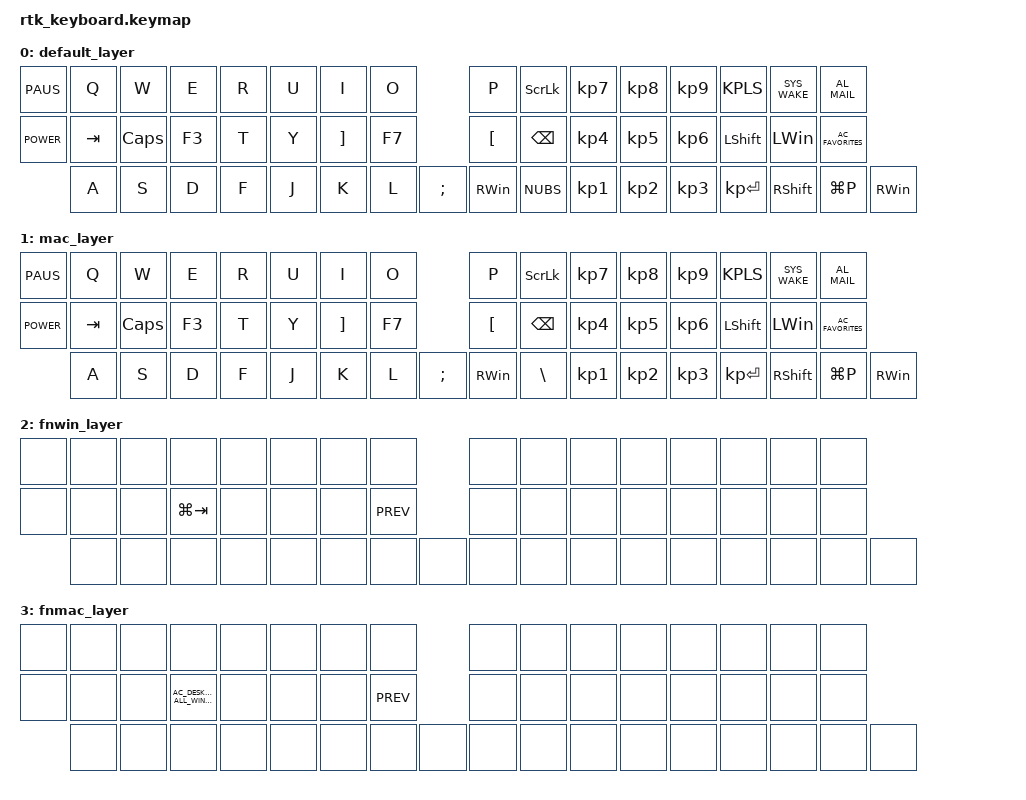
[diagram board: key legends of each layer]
/*
 * Copyright (c) 2023 The ZMK Contributors
 *
 * SPDX-License-Identifier: MIT
 */

#include <behaviors.dtsi>
#include <dt-bindings/zmk/bt.h>
#include <dt-bindings/zmk/keys.h>
#include <dt-bindings/zmk/rgb.h>

#define DEFAULT     0
#define MAC         1
#define FNWIN       2
#define FNMAC       3

/ {
    keymap {
        compatible = "zmk,keymap";

        default_layer {
            bindings = <
    &kp PAUS     &kp Q      &kp W     &kp E   &kp R   &kp U   &kp I              &kp O       &kp P        &kp SCROLLLOCK                     &kp KP_N7      &kp KP_N8     &kp KP_N9     &kp KPLS      &kp SYS_WAKE  &kp C_AL_MAIL
    &kp C_POWER  &kp TAB    &kp CAPS  &kp F3  &kp T   &kp Y   &kp RIGHT_BRACKET  &kp F7      &kp LEFT_BRACKET               &kp BACKSPACE    &kp KP_N4      &kp KP_N5     &kp KP_N6     &kp LSHFT     &kp LWIN      &kp C_AC_FAVORITES
                 &kp A      &kp S     &kp D   &kp F   &kp J   &kp K              &kp L       &kp SEMI   &kp RWIN            &kp NUBS         &kp KP_N1      &kp KP_N2     &kp KP_N3     &kp KP_ENTER  &kp RSHFT     &kp LG(P)       &kp RWIN
    //&kp K_SLEEP  &kp ESC              &kp F4  &kp G   &kp H   &kp F6             &kp DOLLAR  &kp SQT    &kp LALT            &kp F11          &kp SPACE      &kp KP_N0     &kp KP_DOT    &kp UP_ARROW  &kp K_VOL_DN
    //&kp RCTL     &kp Z      &kp X     &kp C   &kp V   &kp M   &kp COMMA          &kp DOT                                    &kp ENTER        &kp KP_NLCK    &kp KP_SLASH  &kp ASTERISK                &kp K_VOL_UP  &kp LG(K)
    //&kp SYS_WAKE                              &kp B   &kp N                      &mo FNWIN   &kp SLASH    &kp RALT          &kp F12          &kp DARW       &kp RARW      &kp KP_MINUS  &kp LARW      &kp C_NEXT    &kp LG(P)         &kp F13
    //&kp LCTL     &kp GRAVE  &kp F1    &kp F2  &kp N5  &kp N6  &kp EQUAL          &kp F8      &kp MINUS                      &kp F9           &kp DEL        &kp INS       &kp PAGE_UP   &kp HOME      &kp C_PREV
    //&kp F5       &kp N1     &kp N2    &kp N3  &kp N4  &kp N7  &kp N8             &kp N9      &kp N0       &kp PRINTSCREEN   &kp F10          &kp K_POWER    &kp K_SLEEP   &kp PAGE_DOWN &kp END       &kp C_AL_CALC
            >;
        };
        mac_layer {
            bindings = <
    &kp PAUS     &kp Q      &kp W     &kp E   &kp R   &kp U   &kp I              &kp O       &kp P        &kp SCROLLLOCK                     &kp KP_N7      &kp KP_N8     &kp KP_N9     &kp KPLS      &kp SYS_WAKE  &kp C_AL_MAIL
    &kp C_POWER  &kp TAB    &kp CAPS  &kp F3  &kp T   &kp Y   &kp RIGHT_BRACKET  &kp F7      &kp LEFT_BRACKET               &kp BACKSPACE    &kp KP_N4      &kp KP_N5     &kp KP_N6     &kp LSHFT     &kp LWIN      &kp C_AC_FAVORITES
                 &kp A      &kp S     &kp D   &kp F   &kp J   &kp K              &kp L       &kp SEMI   &kp RWIN            &kp BSLH         &kp KP_N1      &kp KP_N2     &kp KP_N3     &kp KP_ENTER  &kp RSHFT     &kp LG(P)       &kp RWIN
    //&kp K_SLEEP  &kp ESC              &kp F4  &kp G   &kp H   &kp F6             &kp DOLLAR  &kp SQT    &kp LALT            &kp F11          &kp SPACE      &kp KP_N0     &kp KP_DOT    &kp UP_ARROW  &kp K_VOL_DN
    //&kp RCTL     &kp Z      &kp X     &kp C   &kp V   &kp M   &kp COMMA          &kp DOT                                    &kp ENTER        &kp KP_NLCK    &kp KP_SLASH  &kp ASTERISK                &kp K_VOL_UP  &kp LG(K)
    //&kp SYS_WAKE                              &kp B   &kp N                      &mo FNMAC   &kp SLASH    &kp RALT          &kp F12          &kp DARW       &kp RARW      &kp KP_MINUS  &kp LARW      &kp C_NEXT    &kp LG(P)         &kp F13
    //&kp LCTL     &kp GRAVE  &kp F1    &kp F2  &kp N5  &kp N6  &kp EQUAL          &kp F8      &kp MINUS                      &kp F9           &kp DEL        &kp INS       &kp PAGE_UP   &kp HOME      &kp C_PREV
    //&kp F5       &kp N1     &kp N2    &kp N3  &kp N4  &kp N7  &kp N8             &kp N9      &kp N0       &kp PRINTSCREEN   &kp F10          &kp K_POWER    &kp K_SLEEP   &kp PAGE_DOWN &kp END       &kp C_AL_CALC
            >;
        };

        fnwin_layer {
            bindings = <
    &none  &none    &none     &none    &none   &none   &none   &none   &none      &none                     &none    &none  &none     &none  &none  &none
    &none  &none    &none     &kp LG(TAB)    &none   &none   &none   &kp C_PREV         &none            &none    &none    &none  &none     &none  &none  &none
                    &none     &none          &none   &none   &none   &none              &none    &none   &none             &none  &none     &none  &none  &none  &none  &none  &none
    //&none  &none              &kp LG(E)      &none   &none   &kp LG(L)       &none      &none    &none   &kp C_VOL_DN      &none  &none     &none  &none  &none
    //&none  &none    &none     &none          &none   &none   &none           &none                       &none    &none    &none  &none            &none  &none
    //&none                                    &none   &none                   &none      &none    &none   &kp C_VOL_UP      &none  &none     &none  &none  &none  &none  &kp LG(I)
    //&none  &none    &kp C_BRI_DEC            &kp C_BRI_INC   &none  &none    &none      &kp C_PLAY_PAUSE &none                    &kp C_NEXT       &none  &none  &none  &none &none
    //&kp C_AC_SEARCH   &bt BT_SEL 0     &bt BT_SEL 1          &bt BT_SEL 2    &bt BT_CLR   &none  &none   &none      &none  &none  &kp C_MUTE       &none  &none  &none  &none
            >;
        };

        fnmac_layer {
            bindings = <
    &none  &none    &none     &none          &none   &none   &none   &none   &none      &none                     &none    &none       &none     &none     &none  &none
    &none  &none    &none     &kp C_AC_DESKTOP_SHOW_ALL_WINDOWS      &none   &none      &none   &kp C_PREV          &none            &none   &none    &none       &none     &none     &none  &none
                    &none     &none          &none   &none   &none   &none              &none    &none    &none            &none       &none     &none     &none  &none  &none  &none   &none
    //&none  &none              &kp C_AC_DESKTOP_SHOW_ALL_APPLICATIONS &none   &none      &kp LC(LG(Q))              &none   &none    &none       &kp C_VOL_DN        &none  &none  &none  &none   &none
    //&none  &none    &none     &none          &none   &none   &none           &none                                &none    &none       &none     &none            &none  &none
    //&none                                    &none   &none                   &none      &none    &none            &kp C_VOL_UP         &none     &none     &none  &none  &none  &none   &none
    //&none  &none    &kp C_BRI_DEC            &kp C_BRI_INC   &none  &none    &none      &kp C_PLAY_PAUSE  &none                        &kp C_NEXT    &none &none  &none   &none &none
    //&kp C_AC_SEARCH   &bt BT_SEL 0     &bt BT_SEL 1          &bt BT_SEL 2   &bt BT_CLR   &none  &none    &none      &none    &none    &kp C_MUTE       &none     &none       &none   &none
            >;
        };
    };
};

